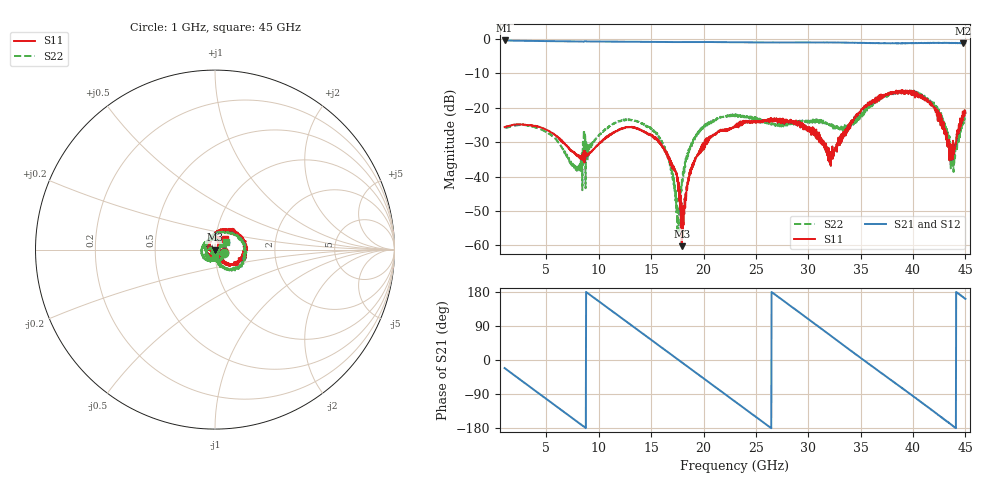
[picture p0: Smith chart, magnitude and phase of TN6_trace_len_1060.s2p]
!Keysight Technologies,N5247B,MY61255062,A.19.80.06
!Date: Thursday, May 21, 2026 12:19:26
!Correction: S11(Cdelta 2-Port  )
!S21(Cdelta 2-Port  )
!S12(Cdelta 2-Port  )
!S22(Cdelta 2-Port  )
!S2P File: Measurements: S11, S21, S12, S22:
# Hz S  dB  R 50
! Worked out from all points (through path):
!   1601 points, 1 GHz to 45 GHz, reference 50 ohm
!   highest |S21| = -0.47 dB at 1 GHz (marker M1); lowest = -1.3 dB at 44.75 GHz (marker M2)
!   group delay of S21, straight-line fit = 56.6 ps
!   lowest |S11| = -60.2 dB at 17.91 GHz (marker M3), VSWR 1.00, Z = 49.9 - j0.0157 ohm
!   |S11| at or under -10 dB: start of sweep to end of sweep
!   |S22| runs from -56.0 to -15.0 dB; largest |S21 - S12| = 0.014
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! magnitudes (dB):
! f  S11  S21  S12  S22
! 1 GHz  -25.6  -0.5  -0.5  -25.7
! 4.52 GHz  -25.8  -0.6  -0.7  -26.4
! 7.683 GHz  -33.3  -0.7  -0.7  -36.8
! 8.342 GHz  -34.1  -0.8  -0.8  -38.5
! 11.97 GHz  -26.3  -0.9  -0.9  -24.0
! 15.69 GHz  -29.5  -0.9  -0.9  -28.3
! 16.79 GHz  -34.7  -0.9  -0.9  -36.8
! 17.5 GHz  -41.4  -0.9  -0.9  -55.4
! 17.91 GHz  -60.2  -0.9  -0.9  -42.0
! 18.13 GHz  -50.2  -0.9  -0.9  -37.3
! 18.52 GHz  -42.1  -0.9  -0.9  -34.2
! 19.54 GHz  -33.6  -0.9  -0.9  -26.7
! 23 GHz  -25.4  -1.0  -1.0  -22.2
! 30.34 GHz  -27.6  -1.0  -1.0  -23.4
! 32.13 GHz  -32.9  -1.1  -1.1  -25.0
! 35.21 GHz  -20.3  -1.2  -1.2  -21.4
! 37.69 GHz  -16.0  -1.3  -1.3  -15.8
! 41.76 GHz  -19.5  -1.2  -1.2  -18.8
! 42.99 GHz  -27.7  -1.1  -1.2  -25.5
! 43.82 GHz  -29.6  -1.3  -1.3  -36.8
! 44.75 GHz  -21.1  -1.3  -1.3  -23.5
! 45 GHz  -21.5  -1.2  -1.3  -22.7
